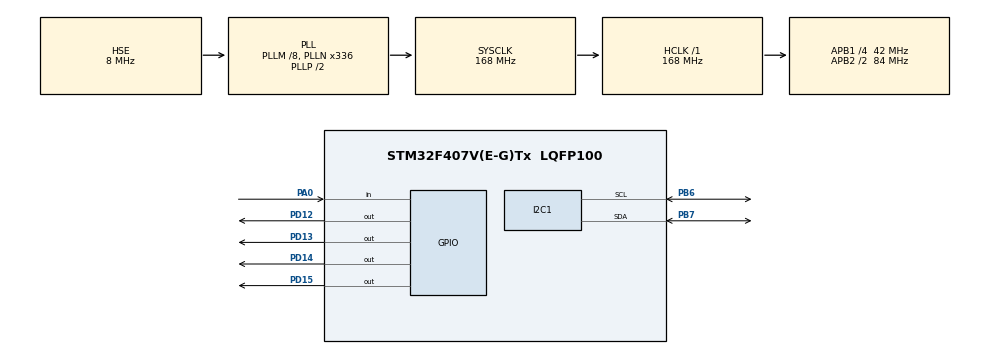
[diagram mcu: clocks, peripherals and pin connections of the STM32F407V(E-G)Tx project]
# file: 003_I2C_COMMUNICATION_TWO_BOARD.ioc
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Mcu.Family=STM32F4
Mcu.Name=STM32F407V(E-G)Tx
Mcu.Package=LQFP100
NVIC.I2C1_ER_IRQn=true\:0\:0\:false\:false\:true\:true\:true
NVIC.I2C1_EV_IRQn=true\:0\:0\:false\:false\:true\:true\:true
NVIC.PriorityGroup=NVIC_PRIORITYGROUP_0
PA0-WKUP.Signal=GPIO_Input
PB6.GPIO_Pu=GPIO_PULLUP
PB6.Mode=I2C
PB6.Signal=I2C1_SCL
PB7.GPIO_Pu=GPIO_PULLUP
PB7.Mode=I2C
PB7.Signal=I2C1_SDA
PD12.Signal=GPIO_Output
PD13.Signal=GPIO_Output
PD14.Signal=GPIO_Output
PD15.Signal=GPIO_Output
PH0-OSC_IN.Mode=HSE-External-Oscillator
PH0-OSC_IN.Signal=RCC_OSC_IN
PH1-OSC_OUT.Mode=HSE-External-Oscillator
PH1-OSC_OUT.Signal=RCC_OSC_OUT
ProjectManager.HeapSize=0x200
ProjectManager.StackSize=0x400
ProjectManager.TargetToolchain=STM32CubeIDE
RCC.48MHZClocksFreq_Value=48000000
RCC.AHBFreq_Value=168000000
RCC.APB1CLKDivider=RCC_HCLK_DIV4
RCC.APB1Freq_Value=42000000
RCC.APB1TimFreq_Value=84000000
RCC.APB2CLKDivider=RCC_HCLK_DIV2
RCC.APB2Freq_Value=84000000
RCC.APB2TimFreq_Value=168000000
RCC.CortexFreq_Value=168000000
RCC.HCLKFreq_Value=168000000
RCC.HSE_VALUE=8000000
RCC.HSI_VALUE=16000000
RCC.LSE_VALUE=32768
RCC.PLLM=8
RCC.PLLN=336
RCC.PLLQ=7
RCC.PLLSourceVirtual=RCC_PLLSOURCE_HSE
RCC.SYSCLKFreq_VALUE=168000000
RCC.SYSCLKSource=RCC_SYSCLKSOURCE_PLLCLK
RCC.VCOOutputFreq_Value=336000000
board=STM32F407G-DISC1

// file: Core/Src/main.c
/* USER CODE BEGIN Header */
/**
  ******************************************************************************
  * @file           : main.c
  * @brief          : Main program body
  ******************************************************************************
  * @attention
  *
  * Copyright (c) 2022 STMicroelectronics.
  * All rights reserved.
  *
  * This software is licensed under terms that can be found in the LICENSE file
  * in the root directory of this software component.
  * If no LICENSE file comes with this software, it is provided AS-IS.
  *
  ******************************************************************************
  */
/* USER CODE END Header */
#include "main.h"

/* USER CODE BEGIN PTD */
#define MASTER_BOARD
#define I2C_ADDRESS        0x3E  /* Real 7 bits slave address value in Datasheet is: b0011111
                                    mean in uint8_t equivalent at 0x1F and this value can be
                                    seen in the OAR1 register in bits ADD[1:7] */
#define MASTER_REQ_READ    0x12
#define MASTER_REQ_WRITE   0x34

/* Size of Transmission buffer */
#define TXBUFFERSIZE	      (COUNTOF(aTxBuffer) - 1)
/* Size of Reception buffer */
#define RXBUFFERSIZE	      TXBUFFERSIZE
#define COUNTOF(__BUFFER__)   (sizeof(__BUFFER__) / sizeof(*(__BUFFER__)))

/* USER CODE END PTD */

I2C_HandleTypeDef hi2c1;

/* USER CODE BEGIN PV */
/* Buffer used for transmission */
uint8_t aTxBuffer[] = "Hi. Mr.Sahin. This is STM32 I2C example done with Two boards With IT ";

/* Buffer used for reception */
uint8_t aRxBuffer[RXBUFFERSIZE];
uint16_t hTxNumData = 0, hRxNumData = 0;
uint8_t bTransferRequest = 0;
/* USER CODE END PV */

void SystemClock_Config(void);
static void MX_GPIO_Init(void);
static void MX_I2C1_Init(void);
/* USER CODE BEGIN PFP */
static uint16_t Buffercmp(uint8_t *pBuffer1, uint8_t *pBuffer2, uint16_t BufferLength);
static void Flush_Buffer(uint8_t* pBuffer, uint16_t BufferLength);
/* USER CODE END PFP */

int main(void)
{

  /* MCU Configuration--------------------------------------------------------*/

  /* Reset of all peripherals, Initializes the Flash interface and the Systick. */
  HAL_Init();

  /* Configure the system clock */
  SystemClock_Config();

  /* Initialize all configured peripherals */
  MX_GPIO_Init();
  MX_I2C1_Init();
  /* USER CODE BEGIN 2 */
#ifdef MASTER_BOARD

  /* Wait for USER Button press before starting the Communication */
  while (!HAL_GPIO_ReadPin(GPIOA, GPIO_PIN_0))
  {
  }

  /* Wait for USER Button release before starting the Communication */
  while (HAL_GPIO_ReadPin(GPIOA, GPIO_PIN_0))
  {
  }

  while(1)
  {
    /* Initialize number of data variables */
    hTxNumData = TXBUFFERSIZE;
    hRxNumData = RXBUFFERSIZE;

    /* Update bTransferRequest to send buffer write request for Slave */
    bTransferRequest = MASTER_REQ_WRITE;

    /*##-2- Master sends write request for slave #############################*/
    do
    {
      if(HAL_I2C_Master_Transmit_IT(&hi2c1, (uint16_t)I2C_ADDRESS, (uint8_t*)&bTransferRequest, 1)!= HAL_OK)
      {
        /* Error_Handler() function is called in case of error. */
        Error_Handler();
      }

      /* Before starting a new communication transfer, you need to check the current
      state of the peripheral; if it�s busy you need to wait for the end of current
      transfer before starting a new one.
      For simplicity reasons, this example is just waiting till the end of the
      transfer, but application may perform other tasks while transfer operation
      is ongoing. */
      while (HAL_I2C_GetState(&hi2c1) != HAL_I2C_STATE_READY)
      {
      }

      /* When Acknowledge failure occurs (Slave don't acknowledge its address)
      Master restarts communication */
    }
    while(HAL_I2C_GetError(&hi2c1) == HAL_I2C_ERROR_AF);

    /*##-3- Master sends number of data to be written ########################*/
    do
    {
      if(HAL_I2C_Master_Transmit_IT(&hi2c1, (uint16_t)I2C_ADDRESS, (uint8_t*)&hTxNumData, 2)!= HAL_OK)
      {
        /* Error_Handler() function is called in case of error. */
        Error_Handler();
      }

      /* Before starting a new communication transfer, you need to check the current
      state of the peripheral; if it�s busy you need to wait for the end of current
      transfer before starting a new one.
      For simplicity reasons, this example is just waiting till the end of the
      transfer, but application may perform other tasks while transfer operation
      is ongoing. */
      while (HAL_I2C_GetState(&hi2c1) != HAL_I2C_STATE_READY)
      {
      }

      /* When Acknowledge failure occurs (Slave don't acknowledge its address)
      Master restarts communication */
    }
    while(HAL_I2C_GetError(&hi2c1) == HAL_I2C_ERROR_AF);

    /*##-4- Master sends aTxBuffer to slave ##################################*/
    do
    {
      if(HAL_I2C_Master_Transmit_IT(&hi2c1, (uint16_t)I2C_ADDRESS, (uint8_t*)aTxBuffer, TXBUFFERSIZE)!= HAL_OK)
      {
        /* Error_Handler() function is called in case of error. */
        Error_Handler();
      }

      /* Before starting a new communication transfer, you need to check the current
      state of the peripheral; if it�s busy you need to wait for the end of current
      transfer before starting a new one.
      For simplicity reasons, this example is just waiting till the end of the
      transfer, but application may perform other tasks while transfer operation
      is ongoing. */
      while (HAL_I2C_GetState(&hi2c1) != HAL_I2C_STATE_READY)
      {
      }

      /* When Acknowledge failure occurs (Slave don't acknowledge its address)
      Master restarts communication */
    }
    while(HAL_I2C_GetError(&hi2c1) == HAL_I2C_ERROR_AF);

    /* Update bTransferRequest to send buffer read request for Slave */
    bTransferRequest = MASTER_REQ_READ;

    /*##-5- Master sends read request for slave ##############################*/
    do
    {
      if(HAL_I2C_Master_Transmit_IT(&hi2c1, (uint16_t)I2C_ADDRESS, (uint8_t*)&bTransferRequest, 1)!= HAL_OK)
      {
        /* Error_Handler() function is called in case of error. */
        Error_Handler();
      }

      /* Before starting a new communication transfer, you need to check the current
      state of the peripheral; if it�s busy you need to wait for the end of current
      transfer before starting a new one.
      For simplicity reasons, this example is just waiting till the end of the
      transfer, but application may perform other tasks while transfer operation
      is ongoing. */
      while (HAL_I2C_GetState(&hi2c1) != HAL_I2C_STATE_READY)
      {
      }

      /* When Acknowledge failure occurs (Slave don't acknowledge its address)
      Master restarts communication */
    }
    while(HAL_I2C_GetError(&hi2c1) == HAL_I2C_ERROR_AF);

    /*##-6- Master sends number of data to be read ###########################*/
    do
    {
      if(HAL_I2C_Master_Transmit_IT(&hi2c1, (uint16_t)I2C_ADDRESS, (uint8_t*)&hRxNumData, 2)!= HAL_OK)
      {
        /* Error_Handler() function is called in case of error. */
        Error_Handler();
      }

      /* Before starting a new communication transfer, you need to check the current
      state of the peripheral; if it�s busy you need to wait for the end of current
      transfer before starting a new one.
      For simplicity reasons, this example is just waiting till the end of the
      transfer, but application may perform other tasks while transfer operation
      is ongoing. */
      while (HAL_I2C_GetState(&hi2c1) != HAL_I2C_STATE_READY)
      {
      }

      /* When Acknowledge failure occurs (Slave don't acknowledge its address)
      Master restarts communication */
    }
    while(HAL_I2C_GetError(&hi2c1) == HAL_I2C_ERROR_AF);

    /*##-7- Master receives aRxBuffer from slave #############################*/
    do
    {
      if(HAL_I2C_Master_Receive_IT(&hi2c1, (uint16_t)I2C_ADDRESS, (uint8_t*)aRxBuffer, RXBUFFERSIZE)!= HAL_OK)
      {
        /* Error_Handler() function is called in case of error. */
        Error_Handler();
      }

      /* Before starting a new communication transfer, you need to check the current
      state of the peripheral; if it�s busy you need to wait for the end of current
      transfer before starting a new one.
      For simplicity reasons, this example is just waiting till the end of the
      transfer, but application may perform other tasks while transfer operation
      is ongoing. */
      while (HAL_I2C_GetState(&hi2c1) != HAL_I2C_STATE_READY)
      {
      }

      /* When Acknowledge failure occurs (Slave don't acknowledge its address)
      Master restarts communication */
    }
    while(HAL_I2C_GetError(&hi2c1) == HAL_I2C_ERROR_AF);

    /* Check correctness of received buffer ##################################*/
    if(Buffercmp((uint8_t*)aTxBuffer,(uint8_t*)aRxBuffer,hRxNumData))
    {
      /* Processing Error */
      Error_Handler();
    }

    /* Flush Rx buffers */
    Flush_Buffer((uint8_t*)aRxBuffer,RXBUFFERSIZE);

    /* Toggle LED4 */
    HAL_GPIO_TogglePin(GPIOD, GPIO_PIN_12);

    /* This delay permit the user to see LED4 toggling */
    HAL_Delay(25);
  }
#else
  while(1)
  {
    /* Initialize number of data variables */
    hTxNumData = 0;
    hRxNumData = 0;

    /*##-2- Slave receive request from master ################################*/
    while(HAL_I2C_Slave_Receive_IT(&hi2c1, (uint8_t*)&bTransferRequest, 1)!= HAL_OK)
    {
    }

    /*  Before starting a new communication transfer, you need to check the current
    state of the peripheral; if it�s busy you need to wait for the end of current
    transfer before starting a new one.
    For simplicity reasons, this example is just waiting till the end of the
    transfer, but application may perform other tasks while transfer operation
    is ongoing. */
    while (HAL_I2C_GetState(&hi2c1) != HAL_I2C_STATE_READY)
    {
    }

    /* If master request write operation #####################################*/
    if (bTransferRequest == MASTER_REQ_WRITE)
    {
      /*##-3- Slave receive number of data to be read ########################*/
      while(HAL_I2C_Slave_Receive_IT(&hi2c1, (uint8_t*)&hRxNumData, 2)!= HAL_OK);

      /*  Before starting a new communication transfer, you need to check the current
      state of the peripheral; if it�s busy you need to wait for the end of current
      transfer before starting a new one.
      For simplicity reasons, this example is just waiting till the end of the
      transfer, but application may perform other tasks while transfer operation
      is ongoing. */
      while (HAL_I2C_GetState(&hi2c1) != HAL_I2C_STATE_READY)
      {
      }

      /*##-4- Slave receives aRxBuffer from master ###########################*/
      while(HAL_I2C_Slave_Receive_IT(&hi2c1, (uint8_t*)aRxBuffer, hRxNumData)!= HAL_OK);

      /*  Before starting a new communication transfer, you need to check the current
      state of the peripheral; if it�s busy you need to wait for the end of current
      transfer before starting a new one.
      For simplicity reasons, this example is just waiting till the end of the
      transfer, but application may perform other tasks while transfer operation
      is ongoing. */
      while (HAL_I2C_GetState(&hi2c1) != HAL_I2C_STATE_READY)
      {
      }

      /* Check correctness of received buffer ################################*/
      if(Buffercmp((uint8_t*)aTxBuffer,(uint8_t*)aRxBuffer,hRxNumData))
      {
        /* Processing Error */
        Error_Handler();
      }

      /* Flush Rx buffers */
      Flush_Buffer((uint8_t*)aRxBuffer,RXBUFFERSIZE);

      /* Toggle LED4 */
      HAL_GPIO_TogglePin(GPIOD, GPIO_PIN_12);
    }
    /* If master request write operation #####################################*/
    else
    {
      /*##-3- Slave receive number of data to be written #####################*/
      while(HAL_I2C_Slave_Receive_IT(&hi2c1, (uint8_t*)&hTxNumData, 2)!= HAL_OK);

      /*  Before starting a new communication transfer, you need to check the current
      state of the peripheral; if it�s busy you need to wait for the end of current
      transfer before starting a new one.
      For simplicity reasons, this example is just waiting till the end of the
      transfer, but application may perform other tasks while transfer operation
      is ongoing. */
      while (HAL_I2C_GetState(&hi2c1) != HAL_I2C_STATE_READY)
      {
      }

      /*##-4- Slave transmit aTxBuffer to master #############################*/
      while(HAL_I2C_Slave_Transmit_IT(&hi2c1, (uint8_t*)aTxBuffer, RXBUFFERSIZE)!= HAL_OK);

      /*  Before starting a new communication transfer, you need to check the current
      state of the peripheral; if it�s busy you need to wait for the end of current
      transfer before starting a new one.
      For simplicity reasons, this example is just waiting till the end of the
      transfer, but application may perform other tasks while transfer operation
      is ongoing. */
      while (HAL_I2C_GetState(&hi2c1) != HAL_I2C_STATE_READY)
      {
      }
    }
  }
#endif /* MASTER_BOARD */

  /* USER CODE END 2 */

  /* Infinite loop */
  while (1)
  {

  }
}

void SystemClock_Config(void)
{
  RCC_OscInitTypeDef RCC_OscInitStruct = {0};
  RCC_ClkInitTypeDef RCC_ClkInitStruct = {0};

  /** Configure the main internal regulator output voltage
  */
  __HAL_RCC_PWR_CLK_ENABLE();
  __HAL_PWR_VOLTAGESCALING_CONFIG(PWR_REGULATOR_VOLTAGE_SCALE1);
  /** Initializes the RCC Oscillators according to the specified parameters
  * in the RCC_OscInitTypeDef structure.
  */
  RCC_OscInitStruct.OscillatorType = RCC_OSCILLATORTYPE_HSE;
  RCC_OscInitStruct.HSEState = RCC_HSE_ON;
  RCC_OscInitStruct.PLL.PLLState = RCC_PLL_ON;
  RCC_OscInitStruct.PLL.PLLSource = RCC_PLLSOURCE_HSE;
  RCC_OscInitStruct.PLL.PLLM = 8;
  RCC_OscInitStruct.PLL.PLLN = 336;
  RCC_OscInitStruct.PLL.PLLP = RCC_PLLP_DIV2;
  RCC_OscInitStruct.PLL.PLLQ = 7;
  if (HAL_RCC_OscConfig(&RCC_OscInitStruct) != HAL_OK)
  {
    Error_Handler();
  }
  /** Initializes the CPU, AHB and APB buses clocks
  */
  RCC_ClkInitStruct.ClockType = RCC_CLOCKTYPE_HCLK|RCC_CLOCKTYPE_SYSCLK
                              |RCC_CLOCKTYPE_PCLK1|RCC_CLOCKTYPE_PCLK2;
  RCC_ClkInitStruct.SYSCLKSource = RCC_SYSCLKSOURCE_PLLCLK;
  RCC_ClkInitStruct.AHBCLKDivider = RCC_SYSCLK_DIV1;
  RCC_ClkInitStruct.APB1CLKDivider = RCC_HCLK_DIV4;
  RCC_ClkInitStruct.APB2CLKDivider = RCC_HCLK_DIV2;

  if (HAL_RCC_ClockConfig(&RCC_ClkInitStruct, FLASH_LATENCY_5) != HAL_OK)
  {
    Error_Handler();
  }
}

static void MX_I2C1_Init(void)
{

  hi2c1.Instance = I2C1;
  hi2c1.Init.ClockSpeed = 100000;
  hi2c1.Init.DutyCycle = I2C_DUTYCYCLE_2;
  hi2c1.Init.OwnAddress1 = I2C_ADDRESS;
  hi2c1.Init.AddressingMode = I2C_ADDRESSINGMODE_7BIT;
  hi2c1.Init.DualAddressMode = I2C_DUALADDRESS_DISABLE;
  hi2c1.Init.OwnAddress2 = 0;
  hi2c1.Init.GeneralCallMode = I2C_GENERALCALL_DISABLE;
  hi2c1.Init.NoStretchMode = I2C_NOSTRETCH_DISABLE;
  if (HAL_I2C_Init(&hi2c1) != HAL_OK)
  {
    Error_Handler();
  }

}

static void MX_GPIO_Init(void)
{
  GPIO_InitTypeDef GPIO_InitStruct = {0};

  /* GPIO Ports Clock Enable */
  __HAL_RCC_GPIOH_CLK_ENABLE();
  __HAL_RCC_GPIOA_CLK_ENABLE();
  __HAL_RCC_GPIOD_CLK_ENABLE();
  __HAL_RCC_GPIOB_CLK_ENABLE();

  /*Configure GPIO pin Output Level */
  HAL_GPIO_WritePin(GPIOD, GPIO_PIN_12|GPIO_PIN_13|GPIO_PIN_14|GPIO_PIN_15, GPIO_PIN_RESET);

  /*Configure GPIO pin : PA0 */
  GPIO_InitStruct.Pin = GPIO_PIN_0;
  GPIO_InitStruct.Mode = GPIO_MODE_INPUT;
  GPIO_InitStruct.Pull = GPIO_NOPULL;
  HAL_GPIO_Init(GPIOA, &GPIO_InitStruct);

  /*Configure GPIO pins : PD12 PD13 PD14 PD15 */
  GPIO_InitStruct.Pin = GPIO_PIN_12|GPIO_PIN_13|GPIO_PIN_14|GPIO_PIN_15;
  GPIO_InitStruct.Mode = GPIO_MODE_OUTPUT_PP;
  GPIO_InitStruct.Pull = GPIO_NOPULL;
  GPIO_InitStruct.Speed = GPIO_SPEED_FREQ_LOW;
  HAL_GPIO_Init(GPIOD, &GPIO_InitStruct);

}

/* USER CODE BEGIN 4 */
void HAL_I2C_ErrorCallback(I2C_HandleTypeDef *I2cHandle)
{
  /** Error_Handler() function is called when error occurs.
  * 1- When Slave don't acknowledge it's address, Master restarts communication.
  * 2- When Master don't acknowledge the last data transferred, Slave don't care in this example.
  */
  if (HAL_I2C_GetError(I2cHandle) != HAL_I2C_ERROR_AF)
  {
    Error_Handler();
  }
}

/**
  * @brief  Compares two buffers.
  * @param  pBuffer1, pBuffer2: buffers to be compared.
  * @param  BufferLength: buffer's length
  * @retval 0  : pBuffer1 identical to pBuffer2
  *         >0 : pBuffer1 differs from pBuffer2
  */
static uint16_t Buffercmp(uint8_t* pBuffer1, uint8_t* pBuffer2, uint16_t BufferLength)
{
  while (BufferLength--)
  {
    if ((*pBuffer1) != *pBuffer2)
    {
      return BufferLength;
    }
    pBuffer1++;
    pBuffer2++;
  }

  return 0;
}

/**
  * @brief  Flushes the buffer
  * @param  pBuffer: buffers to be flushed.
  * @param  BufferLength: buffer's length
  * @retval None
  */
static void Flush_Buffer(uint8_t* pBuffer, uint16_t BufferLength)
{
  while (BufferLength--)
  {
    *pBuffer = 0;

    pBuffer++;
  }
}

/* USER CODE END 4 */

void Error_Handler(void)
{
  /* USER CODE BEGIN Error_Handler_Debug */
  /* User can add his own implementation to report the HAL error return state */
  __disable_irq();
  HAL_GPIO_WritePin(GPIOD, GPIO_PIN_12, GPIO_PIN_RESET);
  /* Turn On LED5 */
  HAL_GPIO_WritePin(GPIOD, GPIO_PIN_13, GPIO_PIN_SET);
  while(1)
  {
  }
  while (1)
  {
  }
  /* USER CODE END Error_Handler_Debug */
}
